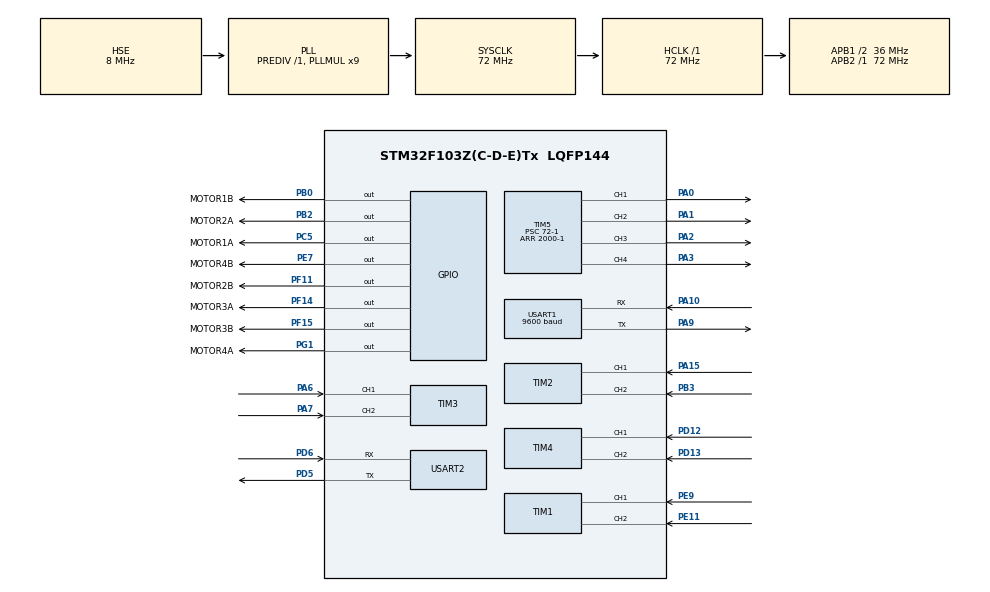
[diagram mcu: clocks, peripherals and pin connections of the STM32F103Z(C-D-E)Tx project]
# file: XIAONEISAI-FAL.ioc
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Mcu.Family=STM32F1
Mcu.Name=STM32F103Z(C-D-E)Tx
Mcu.Package=LQFP144
NVIC.PriorityGroup=NVIC_PRIORITYGROUP_4
OSC_IN.Mode=HSE-External-Oscillator
OSC_IN.Signal=RCC_OSC_IN
OSC_OUT.Mode=HSE-External-Oscillator
OSC_OUT.Signal=RCC_OSC_OUT
PA0-WKUP.Signal=S_TIM5_CH1
PA1.Signal=S_TIM5_CH2
PA10.Mode=Asynchronous
PA10.Signal=USART1_RX
PA13.Mode=Serial_Wire
PA13.Signal=SYS_JTMS-SWDIO
PA14.Mode=Serial_Wire
PA14.Signal=SYS_JTCK-SWCLK
PA15.Signal=S_TIM2_CH1_ETR
PA2.Signal=S_TIM5_CH3
PA3.Signal=S_TIM5_CH4
PA6.Signal=S_TIM3_CH1
PA7.Signal=S_TIM3_CH2
PA9.Mode=Asynchronous
PA9.Signal=USART1_TX
PB0.GPIO_Label=MOTOR1B
PB0.Signal=GPIO_Output
PB2.GPIO_Label=MOTOR2A
PB2.Signal=GPIO_Output
PB3.Signal=S_TIM2_CH2
PC5.GPIO_Label=MOTOR1A
PC5.Signal=GPIO_Output
PD12.Signal=S_TIM4_CH1
PD13.Signal=S_TIM4_CH2
PD5.Mode=Asynchronous
PD5.Signal=USART2_TX
PD6.Mode=Asynchronous
PD6.Signal=USART2_RX
PE11.Signal=S_TIM1_CH2
PE7.GPIO_Label=MOTOR4B
PE7.Signal=GPIO_Output
PE9.Signal=S_TIM1_CH1
PF11.GPIO_Label=MOTOR2B
PF11.Signal=GPIO_Output
PF14.GPIO_Label=MOTOR3A
PF14.Signal=GPIO_Output
PF15.GPIO_Label=MOTOR3B
PF15.Signal=GPIO_Output
PG1.GPIO_Label=MOTOR4A
PG1.Signal=GPIO_Output
ProjectManager.HeapSize=0x200
ProjectManager.StackSize=0x400
ProjectManager.TargetToolchain=MDK-ARM V5.32
RCC.AHBFreq_Value=72000000
RCC.APB1CLKDivider=RCC_HCLK_DIV2
RCC.APB1Freq_Value=36000000
RCC.APB1TimFreq_Value=72000000
RCC.APB2Freq_Value=72000000
RCC.APB2TimFreq_Value=72000000
RCC.HCLKFreq_Value=72000000
RCC.PLLMUL=RCC_PLL_MUL9
RCC.PLLSourceVirtual=RCC_PLLSOURCE_HSE
RCC.SYSCLKFreq_VALUE=72000000
RCC.SYSCLKSource=RCC_SYSCLKSOURCE_PLLCLK
RCC.USBFreq_Value=72000000
SH.S_TIM1_CH1.0=TIM1_CH1,Encoder_Interface
SH.S_TIM1_CH2.0=TIM1_CH2,Encoder_Interface
SH.S_TIM2_CH1_ETR.0=TIM2_CH1,Encoder_Interface
SH.S_TIM2_CH2.0=TIM2_CH2,Encoder_Interface
SH.S_TIM3_CH1.0=TIM3_CH1,Encoder_Interface
SH.S_TIM3_CH2.0=TIM3_CH2,Encoder_Interface
SH.S_TIM4_CH1.0=TIM4_CH1,Encoder_Interface
SH.S_TIM4_CH2.0=TIM4_CH2,Encoder_Interface
SH.S_TIM5_CH1.0=TIM5_CH1,PWM Generation1 CH1
SH.S_TIM5_CH2.0=TIM5_CH2,PWM Generation2 CH2
SH.S_TIM5_CH3.0=TIM5_CH3,PWM Generation3 CH3
SH.S_TIM5_CH4.0=TIM5_CH4,PWM Generation4 CH4
TIM5.Channel-PWM\ Generation1\ CH1=TIM_CHANNEL_1
TIM5.Channel-PWM\ Generation2\ CH2=TIM_CHANNEL_2
TIM5.Channel-PWM\ Generation3\ CH3=TIM_CHANNEL_3
TIM5.Channel-PWM\ Generation4\ CH4=TIM_CHANNEL_4
TIM5.Period=2000-1
TIM5.Prescaler=72-1
TIM6.Period=999
TIM6.Prescaler=719
USART1.BaudRate=9600
USART1.VirtualMode=VM_ASYNC
USART2.VirtualMode=VM_ASYNC
VP_TIM5_VS_ClockSourceINT.Mode=Internal
VP_TIM6_VS_ClockSourceINT.Mode=Enable_Timer
board=custom

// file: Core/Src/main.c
/* USER CODE BEGIN Header */
/**
  ******************************************************************************
  * @file           : main.c
  * @brief          : Main program body
  ******************************************************************************
  * @attention
  *
  * Copyright (c) 2025 STMicroelectronics.
  * All rights reserved.
  *
  * This software is licensed under terms that can be found in the LICENSE file
  * in the root directory of this software component.
  * If no LICENSE file comes with this software, it is provided AS-IS.
  *
  ******************************************************************************
  */
/* USER CODE END Header */
#include "main.h"
#include "tim.h"
#include "usart.h"
#include "gpio.h"

/* USER CODE BEGIN Includes */
#include "move.h"
#include <stdio.h>
#include "pid.h"
#include "motor.h"

/* USER CODE END Includes */

void SystemClock_Config(void);
/* USER CODE BEGIN PFP */
void BRAKE(void);
/* USER CODE END PFP */

/* USER CODE BEGIN 0 */
uint8_t recieveData[13];
uint32_t time_out=0;   //超时定时
/* USER CODE END 0 */

 /**
  * @brief  The application entry point.
  * @retval int
  */
int main(void)
{

  /* MCU Configuration--------------------------------------------------------*/

  /* Reset of all peripherals, Initializes the Flash interface and the Systick. */
  HAL_Init();

  /* Configure the system clock */
  SystemClock_Config();

  /* Initialize all configured peripherals */
  MX_GPIO_Init();
  MX_TIM1_Init();
  MX_TIM2_Init();
  MX_TIM3_Init();
  MX_TIM4_Init();
  MX_TIM5_Init();
  MX_USART1_UART_Init();
  MX_USART2_UART_Init();
  MX_TIM6_Init();
  /* USER CODE BEGIN 2 */
HAL_TIM_PWM_Start(&htim5,TIM_CHANNEL_ALL);
BRAKE();
time_out=HAL_GetTick();
HAL_UART_Receive_IT(&huart1,recieveData,sizeof(recieveData));
  /* USER CODE END 2 */

  /* Infinite loop */
  /* USER CODE BEGIN WHILE */
  while (1)
  {
		if(HAL_GetTick() - time_out > 100)   //超时强制刹车
		{
			BRAKE();
		}
    /* USER CODE END WHILE */

  }
}

void SystemClock_Config(void)
{
  RCC_OscInitTypeDef RCC_OscInitStruct = {0};
  RCC_ClkInitTypeDef RCC_ClkInitStruct = {0};

  /** Initializes the RCC Oscillators according to the specified parameters
  * in the RCC_OscInitTypeDef structure.
  */
  RCC_OscInitStruct.OscillatorType = RCC_OSCILLATORTYPE_HSE;
  RCC_OscInitStruct.HSEState = RCC_HSE_ON;
  RCC_OscInitStruct.HSEPredivValue = RCC_HSE_PREDIV_DIV1;
  RCC_OscInitStruct.HSIState = RCC_HSI_ON;
  RCC_OscInitStruct.PLL.PLLState = RCC_PLL_ON;
  RCC_OscInitStruct.PLL.PLLSource = RCC_PLLSOURCE_HSE;
  RCC_OscInitStruct.PLL.PLLMUL = RCC_PLL_MUL9;
  if (HAL_RCC_OscConfig(&RCC_OscInitStruct) != HAL_OK)
  {
    Error_Handler();
  }

  /** Initializes the CPU, AHB and APB buses clocks
  */
  RCC_ClkInitStruct.ClockType = RCC_CLOCKTYPE_HCLK|RCC_CLOCKTYPE_SYSCLK
                              |RCC_CLOCKTYPE_PCLK1|RCC_CLOCKTYPE_PCLK2;
  RCC_ClkInitStruct.SYSCLKSource = RCC_SYSCLKSOURCE_PLLCLK;
  RCC_ClkInitStruct.AHBCLKDivider = RCC_SYSCLK_DIV1;
  RCC_ClkInitStruct.APB1CLKDivider = RCC_HCLK_DIV2;
  RCC_ClkInitStruct.APB2CLKDivider = RCC_HCLK_DIV1;

  if (HAL_RCC_ClockConfig(&RCC_ClkInitStruct, FLASH_LATENCY_2) != HAL_OK)
  {
    Error_Handler();
  }
}

/* USER CODE BEGIN 4 */
void HAL_UART_RxCpltCallback(UART_HandleTypeDef *huart)
{
	if(huart == &huart1)
	{
		HAL_UART_Transmit(&huart2,recieveData,sizeof(recieveData),HAL_MAX_DELAY);//板间通信
		switch(recieveData[4])
		{
			case 87:
			{
				time_out=HAL_GetTick();//重置超时定时器
				FORWARD_MOVE();
				motor_speed_set(500,500,500,500);
				break;
			}
			case 83:
			{
				time_out=HAL_GetTick();
				BACK_MOVE();
				motor_speed_set(-500,-500,-500,-500);
				break;
			}
			case 65:
			{
				time_out=HAL_GetTick();
				LEFT_MOVE();
				motor_speed_set(-500,500,500,-500);
				break;
			}
			case 68:
			{
				time_out=HAL_GetTick();
				RIGHT_MOVE();
				motor_speed_set(500,-500,-500,500);
				break;
			}
			case 81:
			{
				time_out=HAL_GetTick();
				LEFT_ROTAY();
				motor_speed_set(-500,500,-500,500);
				break;
			}
			case 69:
			{
				time_out=HAL_GetTick();
				RIGHT_ROTAY();
				motor_speed_set(500,-500,500,-500);
				break;
			}
			default:
			{
				BRAKE();
			}
		}
	}
	HAL_UART_Receive_IT(&huart1,recieveData,sizeof(recieveData));
}
/* USER CODE END 4 */

void Error_Handler(void)
{
  __disable_irq();
  while (1)
  {
  }
}
